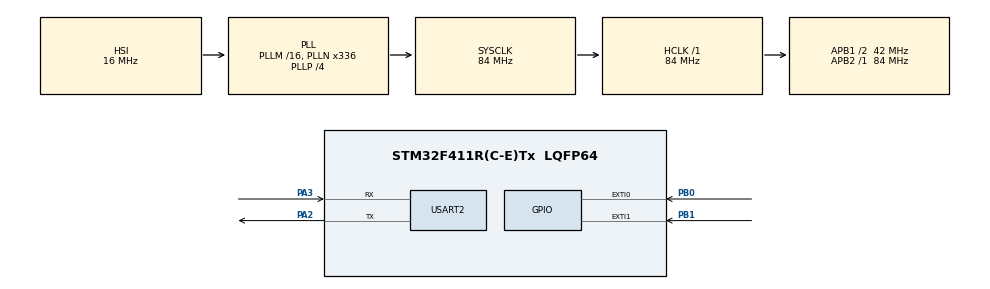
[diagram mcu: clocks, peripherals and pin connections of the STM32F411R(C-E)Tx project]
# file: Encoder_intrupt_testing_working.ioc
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Mcu.Family=STM32F4
Mcu.Name=STM32F411R(C-E)Tx
Mcu.Package=LQFP64
NVIC.EXTI0_IRQn=true\:0\:0\:false\:false\:true\:true\:true\:true
NVIC.EXTI1_IRQn=true\:0\:0\:false\:false\:true\:true\:true\:true
NVIC.PriorityGroup=NVIC_PRIORITYGROUP_0
NVIC.TIM1_UP_TIM10_IRQn=true\:0\:0\:false\:false\:true\:false\:true\:true
NVIC.TimeBase=TIM1_UP_TIM10_IRQn
NVIC.TimeBaseIP=TIM1
PA2.Mode=Asynchronous
PA2.Signal=USART2_TX
PA3.Mode=Asynchronous
PA3.Signal=USART2_RX
PB0.GPIO_ModeDefaultEXTI=GPIO_MODE_IT_RISING_FALLING
PB0.GPIO_PuPd=GPIO_PULLUP
PB0.Signal=GPXTI0
PB1.GPIO_ModeDefaultEXTI=GPIO_MODE_IT_RISING_FALLING
PB1.GPIO_PuPd=GPIO_PULLUP
PB1.Signal=GPXTI1
ProjectManager.HeapSize=0x200
ProjectManager.StackSize=0x400
ProjectManager.TargetToolchain=STM32CubeIDE
RCC.48MHZClocksFreq_Value=84000000
RCC.AHBFreq_Value=84000000
RCC.APB1CLKDivider=RCC_HCLK_DIV2
RCC.APB1Freq_Value=42000000
RCC.APB1TimFreq_Value=84000000
RCC.APB2Freq_Value=84000000
RCC.APB2TimFreq_Value=84000000
RCC.CortexFreq_Value=84000000
RCC.FLatency-AdvancedSettings=FLASH_LATENCY_2
RCC.HCLKFreq_Value=84000000
RCC.HSE_VALUE=8000000
RCC.HSI_VALUE=16000000
RCC.PLLN=336
RCC.PLLP=RCC_PLLP_DIV4
RCC.SYSCLKFreq_VALUE=84000000
RCC.SYSCLKSource=RCC_SYSCLKSOURCE_PLLCLK
RCC.VCOOutputFreq_Value=336000000
USART2.VirtualMode=VM_ASYNC
VP_SYS_VS_tim1.Mode=TIM1
board=NUCLEO-F411RE

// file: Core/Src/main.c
/* USER CODE BEGIN Header */
/**
  ******************************************************************************
  * @file           : main.c
  * @brief          : Main program body
  ******************************************************************************
  * @attention
  *
  * Copyright (c) 2024 STMicroelectronics.
  * All rights reserved.
  *
  * This software is licensed under terms that can be found in the LICENSE file
  * in the root directory of this software component.
  * If no LICENSE file comes with this software, it is provided AS-IS.
  *
  ******************************************************************************
  */
/* USER CODE END Header */
#include "main.h"

/* USER CODE BEGIN Includes */
#include "stdio.h"
#include "stdint.h"
#include "string.h"

/* USER CODE END Includes */

/* USER CODE BEGIN PTD */
volatile int lastEncoded = 0;
volatile long encoderValue = 0;
int lastMSB = 0;
int lastLSB = 0;
/* USER CODE END PTD */

UART_HandleTypeDef huart2;

void SystemClock_Config(void);
static void MX_GPIO_Init(void);
static void MX_USART2_UART_Init(void);

/* USER CODE BEGIN 0 */
void updateEncoder(void)
{
  int MSB = HAL_GPIO_ReadPin(GPIOB, GPIO_PIN_0);
  int LSB = HAL_GPIO_ReadPin(GPIOB, GPIO_PIN_1);

  int encoded = (MSB << 1) | LSB;
  int sum = (lastEncoded << 2) | encoded;

  if (sum == 0b1101 || sum == 0b0100 || sum == 0b0010 || sum == 0b1011)
    encoderValue++;
  if (sum == 0b1110 || sum == 0b0111 || sum == 0b0001 || sum == 0b1000)
    encoderValue--;

  lastEncoded = encoded;
}

void HAL_GPIO_EXTI_Callback(uint16_t GPIO_Pin)
{
  if (GPIO_Pin == GPIO_PIN_0 || GPIO_Pin == GPIO_PIN_1)
  {
    updateEncoder();
  }
}
/* USER CODE END 0 */

int main(void)
{

  /* MCU Configuration--------------------------------------------------------*/

  /* Reset of all peripherals, Initializes the Flash interface and the Systick. */
  HAL_Init();

  /* Configure the system clock */
  SystemClock_Config();

  /* Initialize all configured peripherals */
  MX_GPIO_Init();
  MX_USART2_UART_Init();

  /* Infinite loop */
  while (1)
  {
	  char msg[50];
	  snprintf(msg, sizeof(msg), "Value: %ld\r\n", encoderValue);
	  HAL_UART_Transmit(&huart2, (uint8_t*)msg, strlen(msg), HAL_MAX_DELAY);
	  HAL_Delay(100);
  }
}

void SystemClock_Config(void)
{
  RCC_OscInitTypeDef RCC_OscInitStruct = {0};
  RCC_ClkInitTypeDef RCC_ClkInitStruct = {0};

  /** Configure the main internal regulator output voltage
  */
  __HAL_RCC_PWR_CLK_ENABLE();
  __HAL_PWR_VOLTAGESCALING_CONFIG(PWR_REGULATOR_VOLTAGE_SCALE1);

  /** Initializes the RCC Oscillators according to the specified parameters
  * in the RCC_OscInitTypeDef structure.
  */
  RCC_OscInitStruct.OscillatorType = RCC_OSCILLATORTYPE_HSI;
  RCC_OscInitStruct.HSIState = RCC_HSI_ON;
  RCC_OscInitStruct.HSICalibrationValue = RCC_HSICALIBRATION_DEFAULT;
  RCC_OscInitStruct.PLL.PLLState = RCC_PLL_ON;
  RCC_OscInitStruct.PLL.PLLSource = RCC_PLLSOURCE_HSI;
  RCC_OscInitStruct.PLL.PLLM = 16;
  RCC_OscInitStruct.PLL.PLLN = 336;
  RCC_OscInitStruct.PLL.PLLP = RCC_PLLP_DIV4;
  RCC_OscInitStruct.PLL.PLLQ = 4;
  if (HAL_RCC_OscConfig(&RCC_OscInitStruct) != HAL_OK)
  {
    Error_Handler();
  }

  /** Initializes the CPU, AHB and APB buses clocks
  */
  RCC_ClkInitStruct.ClockType = RCC_CLOCKTYPE_HCLK|RCC_CLOCKTYPE_SYSCLK
                              |RCC_CLOCKTYPE_PCLK1|RCC_CLOCKTYPE_PCLK2;
  RCC_ClkInitStruct.SYSCLKSource = RCC_SYSCLKSOURCE_PLLCLK;
  RCC_ClkInitStruct.AHBCLKDivider = RCC_SYSCLK_DIV1;
  RCC_ClkInitStruct.APB1CLKDivider = RCC_HCLK_DIV2;
  RCC_ClkInitStruct.APB2CLKDivider = RCC_HCLK_DIV1;

  if (HAL_RCC_ClockConfig(&RCC_ClkInitStruct, FLASH_LATENCY_2) != HAL_OK)
  {
    Error_Handler();
  }
}

static void MX_USART2_UART_Init(void)
{

  huart2.Instance = USART2;
  huart2.Init.BaudRate = 115200;
  huart2.Init.WordLength = UART_WORDLENGTH_8B;
  huart2.Init.StopBits = UART_STOPBITS_1;
  huart2.Init.Parity = UART_PARITY_NONE;
  huart2.Init.Mode = UART_MODE_TX_RX;
  huart2.Init.HwFlowCtl = UART_HWCONTROL_NONE;
  huart2.Init.OverSampling = UART_OVERSAMPLING_16;
  if (HAL_UART_Init(&huart2) != HAL_OK)
  {
    Error_Handler();
  }

}

static void MX_GPIO_Init(void)
{
  GPIO_InitTypeDef GPIO_InitStruct = {0};

  /* GPIO Ports Clock Enable */
  __HAL_RCC_GPIOA_CLK_ENABLE();
  __HAL_RCC_GPIOB_CLK_ENABLE();

  /*Configure GPIO pins : PB0 PB1 */
  GPIO_InitStruct.Pin = GPIO_PIN_0|GPIO_PIN_1;
  GPIO_InitStruct.Mode = GPIO_MODE_IT_RISING_FALLING;
  GPIO_InitStruct.Pull = GPIO_PULLUP;
  HAL_GPIO_Init(GPIOB, &GPIO_InitStruct);

  /* EXTI interrupt init*/
  HAL_NVIC_SetPriority(EXTI0_IRQn, 0, 0);
  HAL_NVIC_EnableIRQ(EXTI0_IRQn);

  HAL_NVIC_SetPriority(EXTI1_IRQn, 0, 0);
  HAL_NVIC_EnableIRQ(EXTI1_IRQn);

}

void HAL_TIM_PeriodElapsedCallback(TIM_HandleTypeDef *htim)
{
  if (htim->Instance == TIM1) {
    HAL_IncTick();
  }
}

void Error_Handler(void)
{
  __disable_irq();
  while (1)
  {
  }
}
